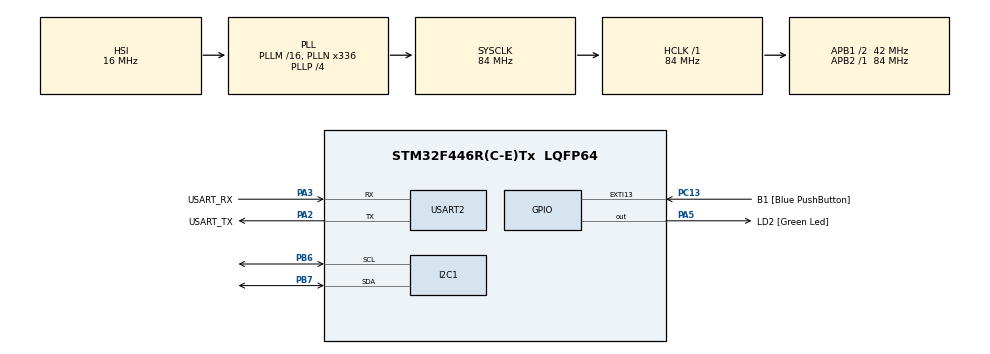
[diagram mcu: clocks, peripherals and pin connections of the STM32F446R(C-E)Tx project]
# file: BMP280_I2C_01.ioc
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I2C1.I2C_Mode=I2C_Standard
Mcu.Family=STM32F4
Mcu.Name=STM32F446R(C-E)Tx
Mcu.Package=LQFP64
NVIC.PriorityGroup=NVIC_PRIORITYGROUP_0
PA13.GPIO_Label=TMS
PA13.Mode=Serial_Wire
PA13.Signal=SYS_JTMS-SWDIO
PA14.GPIO_Label=TCK
PA14.Mode=Serial_Wire
PA14.Signal=SYS_JTCK-SWCLK
PA2.GPIO_Label=USART_TX
PA2.Mode=Asynchronous
PA2.Signal=USART2_TX
PA3.GPIO_Label=USART_RX
PA3.Mode=Asynchronous
PA3.Signal=USART2_RX
PA5.GPIO_Label=LD2 [Green Led]
PA5.Signal=GPIO_Output
PB3.GPIO_Label=SWO
PB3.Signal=SYS_JTDO-SWO
PB6.Mode=I2C
PB6.Signal=I2C1_SCL
PB7.Mode=I2C
PB7.Signal=I2C1_SDA
PC13.GPIO_Label=B1 [Blue PushButton]
PC13.GPIO_ModeDefaultEXTI=GPIO_MODE_IT_FALLING
PC13.Signal=GPXTI13
PC14-OSC32_IN.Mode=LSE-External-Oscillator
PC14-OSC32_IN.Signal=RCC_OSC32_IN
PC15-OSC32_OUT.Mode=LSE-External-Oscillator
PC15-OSC32_OUT.Signal=RCC_OSC32_OUT
PH0-OSC_IN.Mode=HSE-External-Oscillator
PH0-OSC_IN.Signal=RCC_OSC_IN
PH1-OSC_OUT.Mode=HSE-External-Oscillator
PH1-OSC_OUT.Signal=RCC_OSC_OUT
ProjectManager.HeapSize=0x200
ProjectManager.StackSize=0x400
ProjectManager.TargetToolchain=STM32CubeIDE
RCC.48MHZClocksFreq_Value=84000000
RCC.AHBFreq_Value=84000000
RCC.APB1CLKDivider=RCC_HCLK_DIV2
RCC.APB1Freq_Value=42000000
RCC.APB1TimFreq_Value=84000000
RCC.APB2Freq_Value=84000000
RCC.APB2TimFreq_Value=84000000
RCC.CortexFreq_Value=84000000
RCC.FLatency-AdvancedSettings=FLASH_LATENCY_2
RCC.HCLKFreq_Value=84000000
RCC.HSE_VALUE=8000000
RCC.HSI_VALUE=16000000
RCC.PLLN=336
RCC.PLLP=RCC_PLLP_DIV4
RCC.SYSCLKFreq_VALUE=84000000
RCC.SYSCLKSource=RCC_SYSCLKSOURCE_PLLCLK
RCC.USBFreq_Value=168000000
RCC.VCOOutputFreq_Value=336000000
USART2.VirtualMode=VM_ASYNC
board=NUCLEO-F446RE

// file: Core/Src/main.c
/* USER CODE BEGIN Header */
/**
  ******************************************************************************
  * @file           : main.c
  * @brief          : Main program body
  ******************************************************************************
  * @attention
  *
  * Copyright (c) 2023 STMicroelectronics.
  * All rights reserved.
  *
  * This software is licensed under terms that can be found in the LICENSE file
  * in the root directory of this software component.
  * If no LICENSE file comes with this software, it is provided AS-IS.
  *
  ******************************************************************************
  */
/* USER CODE END Header */
#include "main.h"

/* USER CODE BEGIN Includes */
#include "bmp280.h"
#include <stdio.h>
#include <string.h>
/* USER CODE END Includes */

I2C_HandleTypeDef hi2c1;

UART_HandleTypeDef huart2;

void SystemClock_Config(void);
static void MX_GPIO_Init(void);
static void MX_USART2_UART_Init(void);
static void MX_I2C1_Init(void);

int main(void)
{

  /* MCU Configuration--------------------------------------------------------*/

  /* Reset of all peripherals, Initializes the Flash interface and the Systick. */
  HAL_Init();

  /* Configure the system clock */
  SystemClock_Config();

  /* Initialize all configured peripherals */
  MX_GPIO_Init();
  MX_USART2_UART_Init();
  MX_I2C1_Init();
  /* USER CODE BEGIN 2 */
  	  bmp280_params_t params;
      bmp280_init_default_params(&params);
      BMP280_HandleTypedef bmp280;
      bmp280.i2c=&hi2c1;
      char buf[20];

  /* USER CODE END 2 */

  /* Infinite loop */
  /* USER CODE BEGIN WHILE */
  while (1)
  {
	  	  	  int32_t temperature;
	          uint32_t pressure;

	          bmp280_read_fixed(&bmp280, &temperature, &pressure, NULL);
	              // Use temperature and pressure data as needed
	              // Temperature is in degrees Celsius, pressure is in Pascals

	              // Handle BMP280 reading error

	          sprintf(buf, "Temperature: %ld\r\n", temperature);
	          HAL_UART_Transmit(&huart2, (uint8_t*)buf, strlen(buf), HAL_MAX_DELAY);

	          sprintf(buf, "Pressure: %lu Pa\r\n", pressure);
	          HAL_UART_Transmit(&huart2, (uint8_t*)buf, strlen(buf), HAL_MAX_DELAY);

	          HAL_Delay(1000); // Delay between readings
    /* USER CODE END WHILE */

  }
}

void SystemClock_Config(void)
{
  RCC_OscInitTypeDef RCC_OscInitStruct = {0};
  RCC_ClkInitTypeDef RCC_ClkInitStruct = {0};

  /** Configure the main internal regulator output voltage
  */
  __HAL_RCC_PWR_CLK_ENABLE();
  __HAL_PWR_VOLTAGESCALING_CONFIG(PWR_REGULATOR_VOLTAGE_SCALE3);

  /** Initializes the RCC Oscillators according to the specified parameters
  * in the RCC_OscInitTypeDef structure.
  */
  RCC_OscInitStruct.OscillatorType = RCC_OSCILLATORTYPE_HSI;
  RCC_OscInitStruct.HSIState = RCC_HSI_ON;
  RCC_OscInitStruct.HSICalibrationValue = RCC_HSICALIBRATION_DEFAULT;
  RCC_OscInitStruct.PLL.PLLState = RCC_PLL_ON;
  RCC_OscInitStruct.PLL.PLLSource = RCC_PLLSOURCE_HSI;
  RCC_OscInitStruct.PLL.PLLM = 16;
  RCC_OscInitStruct.PLL.PLLN = 336;
  RCC_OscInitStruct.PLL.PLLP = RCC_PLLP_DIV4;
  RCC_OscInitStruct.PLL.PLLQ = 2;
  RCC_OscInitStruct.PLL.PLLR = 2;
  if (HAL_RCC_OscConfig(&RCC_OscInitStruct) != HAL_OK)
  {
    Error_Handler();
  }

  /** Initializes the CPU, AHB and APB buses clocks
  */
  RCC_ClkInitStruct.ClockType = RCC_CLOCKTYPE_HCLK|RCC_CLOCKTYPE_SYSCLK
                              |RCC_CLOCKTYPE_PCLK1|RCC_CLOCKTYPE_PCLK2;
  RCC_ClkInitStruct.SYSCLKSource = RCC_SYSCLKSOURCE_PLLCLK;
  RCC_ClkInitStruct.AHBCLKDivider = RCC_SYSCLK_DIV1;
  RCC_ClkInitStruct.APB1CLKDivider = RCC_HCLK_DIV2;
  RCC_ClkInitStruct.APB2CLKDivider = RCC_HCLK_DIV1;

  if (HAL_RCC_ClockConfig(&RCC_ClkInitStruct, FLASH_LATENCY_2) != HAL_OK)
  {
    Error_Handler();
  }
}

static void MX_I2C1_Init(void)
{

  hi2c1.Instance = I2C1;
  hi2c1.Init.ClockSpeed = 100000;
  hi2c1.Init.DutyCycle = I2C_DUTYCYCLE_2;
  hi2c1.Init.OwnAddress1 = 0;
  hi2c1.Init.AddressingMode = I2C_ADDRESSINGMODE_7BIT;
  hi2c1.Init.DualAddressMode = I2C_DUALADDRESS_DISABLE;
  hi2c1.Init.OwnAddress2 = 0;
  hi2c1.Init.GeneralCallMode = I2C_GENERALCALL_DISABLE;
  hi2c1.Init.NoStretchMode = I2C_NOSTRETCH_DISABLE;
  if (HAL_I2C_Init(&hi2c1) != HAL_OK)
  {
    Error_Handler();
  }

}

static void MX_USART2_UART_Init(void)
{

  huart2.Instance = USART2;
  huart2.Init.BaudRate = 115200;
  huart2.Init.WordLength = UART_WORDLENGTH_8B;
  huart2.Init.StopBits = UART_STOPBITS_1;
  huart2.Init.Parity = UART_PARITY_NONE;
  huart2.Init.Mode = UART_MODE_TX_RX;
  huart2.Init.HwFlowCtl = UART_HWCONTROL_NONE;
  huart2.Init.OverSampling = UART_OVERSAMPLING_16;
  if (HAL_UART_Init(&huart2) != HAL_OK)
  {
    Error_Handler();
  }

}

static void MX_GPIO_Init(void)
{
  GPIO_InitTypeDef GPIO_InitStruct = {0};

  /* GPIO Ports Clock Enable */
  __HAL_RCC_GPIOC_CLK_ENABLE();
  __HAL_RCC_GPIOH_CLK_ENABLE();
  __HAL_RCC_GPIOA_CLK_ENABLE();
  __HAL_RCC_GPIOB_CLK_ENABLE();

  /*Configure GPIO pin Output Level */
  HAL_GPIO_WritePin(LD2_GPIO_Port, LD2_Pin, GPIO_PIN_RESET);

  /*Configure GPIO pin : B1_Pin */
  GPIO_InitStruct.Pin = B1_Pin;
  GPIO_InitStruct.Mode = GPIO_MODE_IT_FALLING;
  GPIO_InitStruct.Pull = GPIO_NOPULL;
  HAL_GPIO_Init(B1_GPIO_Port, &GPIO_InitStruct);

  /*Configure GPIO pin : LD2_Pin */
  GPIO_InitStruct.Pin = LD2_Pin;
  GPIO_InitStruct.Mode = GPIO_MODE_OUTPUT_PP;
  GPIO_InitStruct.Pull = GPIO_NOPULL;
  GPIO_InitStruct.Speed = GPIO_SPEED_FREQ_LOW;
  HAL_GPIO_Init(LD2_GPIO_Port, &GPIO_InitStruct);

}

void Error_Handler(void)
{
  __disable_irq();
  while (1)
  {
  }
}
